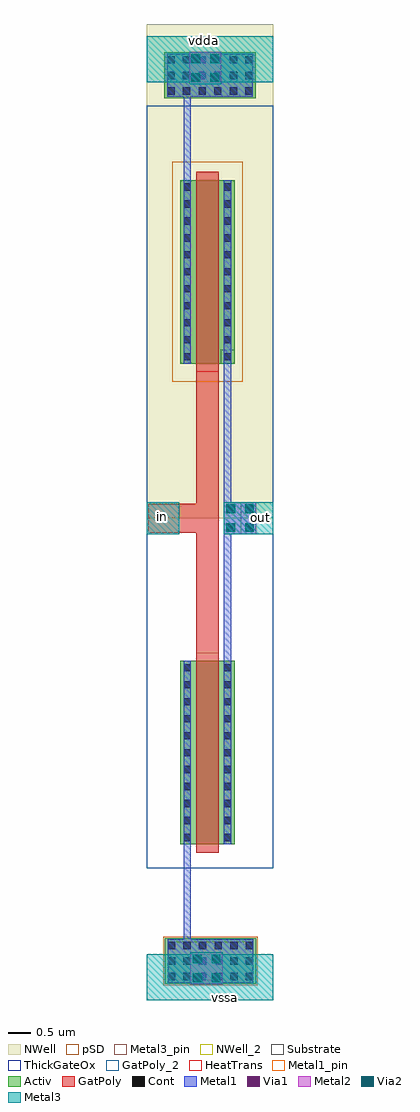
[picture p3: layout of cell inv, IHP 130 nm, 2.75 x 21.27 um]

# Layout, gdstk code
import gdstk
lib = gdstk.Library(unit=1e-6, precision=1e-09)
def R(c, l, rs):  # rectangles x0, y0, x1, y1
    for r in rs: c.add(gdstk.rectangle(r[:2], r[2:], *l))
def A(c, l, x, y, w, h, nx, ny, dx, dy):  # array of equal rectangles
    R(c, l, [(x+i*dx, y+j*dy, x+i*dx+w, y+j*dy+h) for i in range(nx) for j in range(ny)])
Activ = (1, 0)
GatPoly = (5, 0)
GatPoly_2 = (5, 2)
Cont = (6, 0)
Metal1 = (8, 0)
Metal1_pin = (8, 2)
Metal2 = (10, 0)
pSD = (14, 0)
Via1 = (19, 0)
Via2 = (29, 0)
Metal3 = (30, 0)
Metal3_pin = (30, 2)
NWell = (31, 0)
NWell_2 = (31, 2)
Substrate = (40, 0)
ThickGateOx = (44, 0)
HeatTrans = (51, 0)

pmoshv_13 = lib.new_cell('pmosHV$13')
R(pmoshv_13, Activ, [(0,0,0.3,0.3), (0,0,1.18,4), (0.88,0,1.18,0.3)])
R(pmoshv_13, GatPoly, [(0.34,-0.18,0.84,4.18)])
R(pmoshv_13, GatPoly_2, [(0.34,-0.18,0.84,4.18)])
A(pmoshv_13, Cont, 0.07, 0.07, 0.16, 0.16, 1, 11, 0, 0.37)
A(pmoshv_13, Cont, 0.95, 0.07, 0.16, 0.16, 1, 11, 0, 0.37)
R(pmoshv_13, Metal1, [(0.07,0,0.23,4), (0.95,0,1.11,4)])
R(pmoshv_13, Metal1_pin, [(0.07,0,0.23,4), (0.95,0,1.11,4)])
R(pmoshv_13, pSD, [(-0.18,-0.4,1.36,4.4)])
R(pmoshv_13, NWell, [(-0.62,-0.62,1.8,4.62)])
R(pmoshv_13, Substrate, [(0.88,0,1.18,0.3)])
R(pmoshv_13, ThickGateOx, [(-0.62,-0.62,1.8,4.62)])
R(pmoshv_13, HeatTrans, [(0.34,-0.18,0.84,4.18)])
pmoshv_13.add(gdstk.Label('pmosHV', (0.59,2), layer=63, texttype=0))
pmoshv_13.add(gdstk.Label('pmos', (0.59,2), layer=51, texttype=0))

via_stack_18 = lib.new_cell('via_stack$18')

via_stack_19 = lib.new_cell('via_stack$19')
R(via_stack_19, Metal1, [(-0.35,-0.35,0.35,0.35)])
R(via_stack_19, Metal2, [(-0.35,-0.35,0.35,0.35)])
R(via_stack_19, Via1, [(-0.3,-0.3,-0.11,-0.11), (0.11,-0.3,0.3,-0.11), (-0.3,0.11,-0.11,0.3), (0.11,0.11,0.3,0.3)])
R(via_stack_19, Via2, [(-0.3,-0.3,-0.11,-0.11), (0.11,-0.3,0.3,-0.11), (-0.3,0.11,-0.11,0.3), (0.11,0.11,0.3,0.3)])
R(via_stack_19, Metal3, [(-0.35,-0.35,0.35,0.35)])

ntap1_2 = lib.new_cell('ntap1$2')
R(ntap1_2, Activ, [(0,0,2,1)])
A(ntap1_2, Cont, 0.07, 0.08, 0.16, 0.16, 6, 3, 0.34, 0.34)
R(ntap1_2, Metal1, [(0.07,0.03,1.93,0.97)])
R(ntap1_2, Metal1_pin, [(0.07,0.03,1.93,0.97), (0.07,0.08,1.93,0.92)])
R(ntap1_2, NWell, [(-0.24,-0.24,2.24,1.24), (0,0,2,1)])
R(ntap1_2, NWell_2, [(0,0,2,1)])

ptap1_8 = lib.new_cell('ptap1$8')
R(ptap1_8, Activ, [(0,0,2,1)])
A(ptap1_8, Cont, 0.07, 0.08, 0.16, 0.16, 6, 3, 0.34, 0.34)
R(ptap1_8, Metal1, [(0.07,0.03,1.93,0.97), (0.07,0.08,1.93,0.92)])
R(ptap1_8, Metal1_pin, [(0.07,0.08,1.93,0.92)])
R(ptap1_8, pSD, [(-0.03,-0.03,2.03,1.03)])
R(ptap1_8, Substrate, [(0,0,2,1)])

nmoshv_6 = lib.new_cell('nmosHV$6')
R(nmoshv_6, Activ, [(0,0,0.3,0.3), (0,0,1.18,4), (0.88,0,1.18,0.3)])
R(nmoshv_6, GatPoly, [(0.34,-0.18,0.84,4.18)])
R(nmoshv_6, GatPoly_2, [(0.34,-0.18,0.84,4.18)])
A(nmoshv_6, Cont, 0.07, 0.07, 0.16, 0.16, 1, 11, 0, 0.37)
A(nmoshv_6, Cont, 0.95, 0.07, 0.16, 0.16, 1, 11, 0, 0.37)
R(nmoshv_6, Metal1, [(0.07,0,0.23,4), (0.95,0,1.11,4)])
R(nmoshv_6, Metal1_pin, [(0.07,0,0.23,4), (0.95,0,1.11,4)])
R(nmoshv_6, ThickGateOx, [(-0.27,-0.52,1.45,4.52)])
R(nmoshv_6, HeatTrans, [(0.34,-0.18,0.84,4.18)])
nmoshv_6.add(gdstk.Label('nmosHV', (0.59,2), layer=63, texttype=0))
nmoshv_6.add(gdstk.Label('nmosHV', (0.59,2), layer=51, texttype=0))

inv = lib.new_cell('inv')
R(inv, GatPoly, [(1.07,5.48,1.57,14.495), (0.03,9.68,1.07,10.32)])
R(inv, Metal1, [(0.8,-0.12,0.96,5.555), (1.68,2.89,1.84,17.37), (0.8,14.37,0.96,20.12)])
R(inv, Metal3, [(0,-0.5,2.75,0.5), (0,9.65,0.7,10.35), (0,19.5,2.75,20.5)])
R(inv, Metal3_pin, [(0,-0.5,2.75,0.5), (0,9.65,0.7,10.35), (2.05,9.65,2.75,10.35), (0,19.5,2.75,20.5)])
R(inv, NWell, [(0,10,2.75,20.77)])
R(inv, ThickGateOx, [(0,2.37,2.75,18.99)])
inv.add(gdstk.FlexPath([(1.68,10),(2.75,10),(2.75,10)], 0.7, ends="flush", simple_path=True, layer=30, datatype=0))  # Metal3
inv.add(gdstk.Reference(pmoshv_13, (0.73,13.37)))
inv.add(gdstk.Reference(via_stack_18, (0.35,10)))
inv.add(gdstk.Reference(via_stack_19, (2.03,10)))
inv.add(gdstk.Reference(via_stack_19, (1.27,19.81)))
inv.add(gdstk.Reference(via_stack_19, (1.3,0.19)))
r = gdstk.Reference(ntap1_2, (0.375,19.15)); r.repetition = gdstk.Repetition(1, 1, v1=(0,0), v2=(0,0)); inv.add(r)
r = gdstk.Reference(ptap1_8, (0.385,-0.15)); r.repetition = gdstk.Repetition(1, 1, v1=(0,0), v2=(0,0)); inv.add(r)
inv.add(gdstk.Reference(nmoshv_6, (0.73,2.89)))
inv.add(gdstk.Label('vdda', (1.234,20.419), layer=30, texttype=25))
inv.add(gdstk.Label('vssa', (1.698,-0.452), layer=30, texttype=25))
inv.add(gdstk.Label('out', (2.465,10.02), layer=30, texttype=25))
inv.add(gdstk.Label('in', (0.35,10.04), layer=30, texttype=25))

lib.write_gds('inv.gds')
